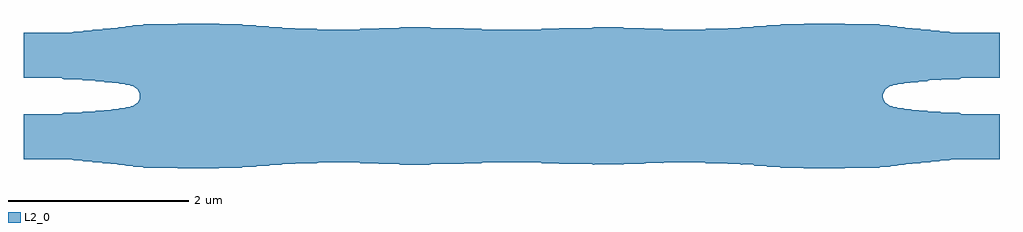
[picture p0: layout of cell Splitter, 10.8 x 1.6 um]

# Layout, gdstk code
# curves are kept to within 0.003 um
import gdstk
lib = gdstk.Library(unit=1e-6, precision=1e-09)
def P(c, l, *ps):  # polygons
    for p in ps: c.add(gdstk.Polygon(p, *l))
L2_0 = (2, 0)

splitter = lib.new_cell('Splitter')
P(splitter, L2_0, [(-4.341,0.14),(-4.351,0.144),(-4.409,0.144),(-4.431,0.154),(-4.499,0.154),(-4.521,0.164),(-4.599,0.164),(-4.621,0.174),(-4.739,0.174),(-4.761,0.184),(-4.949,0.184),(-4.971,0.194),(-4.974,0.2),(-5.4,0.2),(-5.4,0.7),(-4.864,0.7),(-4.84,0.712),(-4.751,0.712),(-4.731,0.722),(-4.651,0.722),(-4.631,0.732),(-4.541,0.732),(-4.521,0.742),(-4.451,0.742),(-4.429,0.752),(-4.361,0.752),(-4.341,0.761)],
  [(-4.341,-0.762),(-4.364,-0.752),(-4.431,-0.752),(-4.453,-0.742),(-4.521,-0.742),(-4.543,-0.732),(-4.631,-0.732),(-4.654,-0.722),(-4.731,-0.722),(-4.754,-0.712),(-4.841,-0.712),(-4.87,-0.7),(-5.4,-0.7),(-5.4,-0.2),(-4.989,-0.2),(-4.952,-0.185),(-4.764,-0.185),(-4.742,-0.175),(-4.623,-0.175),(-4.599,-0.165),(-4.524,-0.165),(-4.501,-0.155),(-4.434,-0.155),(-4.412,-0.145),(-4.353,-0.145),(-4.341,-0.14)],
  [(4.341,0.14),(4.341,0.761),(4.36,0.752),(4.428,0.752),(4.45,0.742),(4.521,0.742),(4.54,0.732),(4.631,0.732),(4.65,0.722),(4.731,0.722),(4.75,0.712),(4.839,0.712),(4.864,0.7),(5.4,0.7),(5.4,0.2),(4.973,0.2),(4.97,0.194),(4.948,0.184),(4.76,0.184),(4.738,0.174),(4.62,0.174),(4.598,0.164),(4.52,0.164),(4.498,0.154),(4.43,0.154),(4.408,0.144),(4.35,0.144)],
  [(4.341,-0.762),(4.341,-0.14),(4.352,-0.145),(4.411,-0.145),(4.433,-0.155),(4.501,-0.155),(4.523,-0.165),(4.598,-0.165),(4.623,-0.175),(4.741,-0.175),(4.763,-0.185),(4.951,-0.185),(4.988,-0.2),(5.4,-0.2),(5.4,-0.7),(4.872,-0.7),(4.841,-0.712),(4.753,-0.712),(4.731,-0.722),(4.653,-0.722),(4.631,-0.732),(4.543,-0.732),(4.521,-0.742),(4.453,-0.742),(4.431,-0.752),(4.363,-0.752)],
  [(-3.682,-0.802),(-3.703,-0.792),(-4.071,-0.792),(-4.093,-0.782),(-4.181,-0.782),(-4.203,-0.772),(-4.261,-0.772),(-4.283,-0.762),(-4.341,-0.762),(-4.341,-0.14),(-4.328,-0.135),(-4.283,-0.135),(-4.261,-0.125),(-4.233,-0.125),(-4.173,-0.101),(-4.134,-0.072),(-4.111,-0.021),(-4.112,0.027),(-4.14,0.078),(-4.2,0.114),(-4.213,0.115),(-4.23,0.124),(-4.258,0.124),(-4.281,0.134),(-4.328,0.134),(-4.341,0.14),(-4.341,0.761),(-4.281,0.762),(-4.258,0.772),(-4.201,0.772),(-4.178,0.782),(-4.091,0.782),(-4.068,0.792),(-3.701,0.792),(-3.678,0.802),(-3.246,0.802),(-3.223,0.792),(-2.976,0.789),(-2.969,0.785),(-2.969,-0.785),(-2.983,-0.792),(-3.221,-0.792),(-3.242,-0.802)],
  [(-2.969,-0.785),(-2.969,0.785),(-2.836,0.782),(-2.813,0.772),(-2.695,0.772),(-2.671,0.762),(-2.555,0.762),(-2.531,0.752),(-2.405,0.752),(-2.381,0.742),(-2.153,0.742),(-2.134,0.732),(-1.693,0.732),(-1.674,0.742),(-1.483,0.742),(-1.461,0.752),(-1.246,0.752),(-1.222,0.762),(-0.917,0.762),(-0.892,0.752),(-0.537,0.752),(-0.515,0.742),(-0.334,0.742),(-0.315,0.732),(0.312,0.732),(0.312,-0.732),(-0.312,-0.732),(-0.334,-0.742),(-0.512,-0.742),(-0.534,-0.752),(-0.892,-0.752),(-0.914,-0.762),(-1.224,-0.762),(-1.246,-0.752),(-1.464,-0.752),(-1.486,-0.742),(-1.674,-0.742),(-1.696,-0.732),(-2.13,-0.732),(-2.153,-0.742),(-2.381,-0.742),(-2.405,-0.752),(-2.531,-0.752),(-2.553,-0.762),(-2.671,-0.762),(-2.693,-0.772),(-2.811,-0.772),(-2.833,-0.782)],
  [(2.976,-0.789),(2.96,-0.782),(2.832,-0.782),(2.81,-0.772),(2.692,-0.772),(2.67,-0.762),(2.552,-0.762),(2.53,-0.752),(2.404,-0.752),(2.38,-0.742),(2.152,-0.742),(2.13,-0.732),(1.695,-0.732),(1.673,-0.742),(1.485,-0.742),(1.463,-0.752),(1.246,-0.752),(1.224,-0.762),(0.914,-0.762),(0.892,-0.752),(0.534,-0.752),(0.512,-0.742),(0.334,-0.742),(0.312,-0.732),(0.312,0.732),(0.334,0.742),(0.514,0.742),(0.536,0.752),(0.892,0.752),(0.916,0.762),(1.221,0.762),(1.246,0.752),(1.461,0.752),(1.483,0.742),(1.673,0.742),(1.693,0.732),(2.133,0.732),(2.152,0.742),(2.38,0.742),(2.404,0.752),(2.53,0.752),(2.555,0.762),(2.67,0.762),(2.695,0.772),(2.812,0.772),(2.835,0.782),(2.962,0.782),(2.976,0.789)],
  [(3.242,-0.802),(3.22,-0.792),(2.976,-0.789),(2.976,0.789),(3.222,0.792),(3.245,0.802),(3.678,0.802),(3.7,0.792),(4.067,0.792),(4.09,0.782),(4.178,0.782),(4.2,0.772),(4.258,0.772),(4.28,0.762),(4.341,0.761),(4.341,0.14),(4.328,0.134),(4.28,0.134),(4.258,0.124),(4.23,0.124),(4.172,0.1),(4.137,0.076),(4.11,0.021),(4.112,-0.028),(4.139,-0.079),(4.16,-0.089),(4.172,-0.101),(4.228,-0.124),(4.261,-0.125),(4.282,-0.135),(4.328,-0.135),(4.341,-0.14),(4.341,-0.762),(4.282,-0.762),(4.261,-0.772),(4.202,-0.772),(4.18,-0.782),(4.092,-0.782),(4.07,-0.792),(3.702,-0.792),(3.681,-0.802)])

lib.write_gds('Splitter.gds')
